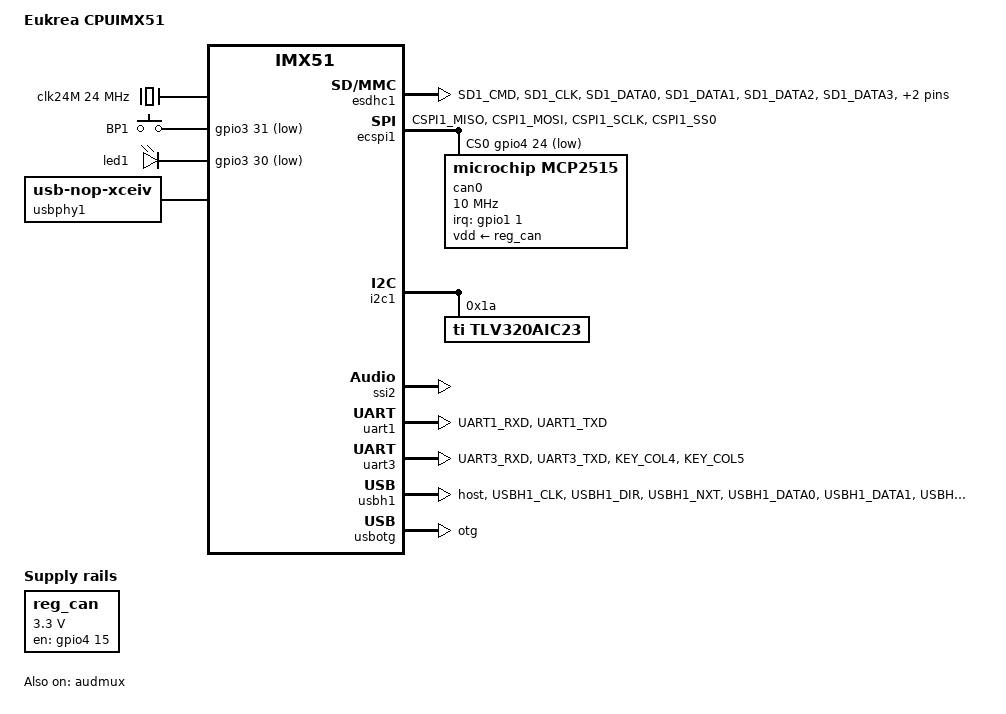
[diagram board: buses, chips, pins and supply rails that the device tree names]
// SPDX-License-Identifier: GPL-2.0-or-later
/*
 * Copyright 2013 Eukréa Electromatique <denis@eukrea.com>
 */

/dts-v1/;
#include "imx51-eukrea-cpuimx51.dtsi"
#include <dt-bindings/gpio/gpio.h>

/ {
	model = "Eukrea CPUIMX51";
	compatible = "eukrea,mbimxsd51","eukrea,cpuimx51", "fsl,imx51";

	clocks {
		clk24M: can_clock {
			compatible = "fixed-clock";
			#clock-cells = <0>;
			clock-frequency = <24000000>;
		};
	};

	gpio_keys {
		compatible = "gpio-keys";
		pinctrl-names = "default";
		pinctrl-0 = <&pinctrl_gpiokeys_1>;

		button-1 {
			label = "BP1";
			gpios = <&gpio3 31 GPIO_ACTIVE_LOW>;
			linux,code = <256>;
			wakeup-source;
			linux,input-type = <1>;
		};
	};

	leds {
		compatible = "gpio-leds";
		pinctrl-names = "default";
		pinctrl-0 = <&pinctrl_gpioled>;

		led1 {
			label = "led1";
			gpios = <&gpio3 30 GPIO_ACTIVE_LOW>;
			linux,default-trigger = "heartbeat";
		};
	};

	reg_can: regulator-can {
		compatible = "regulator-fixed";
		regulator-name = "CAN_RST";
		regulator-min-microvolt = <3300000>;
		regulator-max-microvolt = <3300000>;
		gpio = <&gpio4 15 GPIO_ACTIVE_HIGH>;
		startup-delay-us = <20000>;
		enable-active-high;
	};

	sound {
		compatible = "eukrea,asoc-tlv320";
		eukrea,model = "imx51-eukrea-tlv320aic23";
		ssi-controller = <&ssi2>;
		fsl,mux-int-port = <2>;
		fsl,mux-ext-port = <3>;
	};

	usbphy1: usbphy1 {
		compatible = "usb-nop-xceiv";
		clocks = <&clks IMX5_CLK_USB_PHY_GATE>;
		clock-names = "main_clk";
		clock-frequency = <19200000>;
		#phy-cells = <0>;
	};
};

&audmux {
	pinctrl-names = "default";
	pinctrl-0 = <&pinctrl_audmux>;
	status = "okay";
};

&esdhc1 {
	pinctrl-names = "default";
	pinctrl-0 = <&pinctrl_esdhc1 &pinctrl_esdhc1_cd>;
	cd-gpios = <&gpio1 0 GPIO_ACTIVE_LOW>;
	status = "okay";
};

&ecspi1 {
	pinctrl-names = "default";
	pinctrl-0 = <&pinctrl_ecspi1>;
	cs-gpios = <&gpio4 24 GPIO_ACTIVE_LOW>;
	status = "okay";

	can0: can@0 {
		pinctrl-names = "default";
		pinctrl-0 = <&pinctrl_can>;
		compatible = "microchip,mcp2515";
		reg = <0>;
		clocks = <&clk24M>;
		spi-max-frequency = <10000000>;
		interrupt-parent = <&gpio1>;
		interrupts = <1 IRQ_TYPE_EDGE_FALLING>;
		vdd-supply = <&reg_can>;
	};
};

&i2c1 {
	tlv320aic23: codec@1a {
		compatible = "ti,tlv320aic23";
		reg = <0x1a>;
	};
};

&iomuxc {
	imx51-eukrea {
		pinctrl_audmux: audmuxgrp {
			fsl,pins = <
				MX51_PAD_AUD3_BB_TXD__AUD3_TXD		0x80000000
				MX51_PAD_AUD3_BB_RXD__AUD3_RXD		0x80000000
				MX51_PAD_AUD3_BB_CK__AUD3_TXC		0x80000000
				MX51_PAD_AUD3_BB_FS__AUD3_TXFS		0x80000000
			>;
		};


		pinctrl_can: cangrp {
			fsl,pins = <
				MX51_PAD_CSI2_PIXCLK__GPIO4_15		0x80000000	/* nReset */
				MX51_PAD_GPIO1_1__GPIO1_1		0x80000000	/* IRQ */
			>;
		};

		pinctrl_ecspi1: ecspi1grp {
			fsl,pins = <
				MX51_PAD_CSPI1_MISO__ECSPI1_MISO	0x185
				MX51_PAD_CSPI1_MOSI__ECSPI1_MOSI	0x185
				MX51_PAD_CSPI1_SCLK__ECSPI1_SCLK	0x185
				MX51_PAD_CSPI1_SS0__GPIO4_24		0x80000000 	/* CS0 */
			>;
		};

		pinctrl_esdhc1: esdhc1grp {
			fsl,pins = <
				MX51_PAD_SD1_CMD__SD1_CMD		0x400020d5
				MX51_PAD_SD1_CLK__SD1_CLK		0x20d5
				MX51_PAD_SD1_DATA0__SD1_DATA0		0x20d5
				MX51_PAD_SD1_DATA1__SD1_DATA1		0x20d5
				MX51_PAD_SD1_DATA2__SD1_DATA2		0x20d5
				MX51_PAD_SD1_DATA3__SD1_DATA3		0x20d5
			>;
		};

		pinctrl_uart1: uart1grp {
			fsl,pins = <
				MX51_PAD_UART1_RXD__UART1_RXD		0x1c5
				MX51_PAD_UART1_TXD__UART1_TXD		0x1c5
			>;
		};

		pinctrl_uart3: uart3grp {
			fsl,pins = <
				MX51_PAD_UART3_RXD__UART3_RXD		0x1c5
				MX51_PAD_UART3_TXD__UART3_TXD		0x1c5
			>;
		};

		pinctrl_uart3_rtscts: uart3rtsctsgrp {
			fsl,pins = <
				MX51_PAD_KEY_COL4__UART3_RTS		0x1c5
				MX51_PAD_KEY_COL5__UART3_CTS		0x1c5
			>;
		};

		pinctrl_backlight_1: backlightgrp-1 {
			fsl,pins = <
				MX51_PAD_DI1_D1_CS__GPIO3_4 0x1f5
			>;
		};

		pinctrl_esdhc1_cd: esdhc1_cd {
			fsl,pins = <
				MX51_PAD_GPIO1_0__GPIO1_0 0xd5
			>;
		};

		pinctrl_gpiokeys_1: gpiokeysgrp-1 {
			fsl,pins = <
				MX51_PAD_NANDF_D9__GPIO3_31 0x1f5
			>;
		};

		pinctrl_gpioled: gpioledgrp-1 {
			fsl,pins = <
				MX51_PAD_NANDF_D10__GPIO3_30 0x80000000
			>;
		};

		pinctrl_reg_lcd_3v3: reg_lcd_3v3 {
			fsl,pins = <
				MX51_PAD_CSI1_D9__GPIO3_13 0x1f5
			>;
		};

		pinctrl_usbh1: usbh1grp {
			fsl,pins = <
				MX51_PAD_USBH1_CLK__USBH1_CLK     0x1e5
				MX51_PAD_USBH1_DIR__USBH1_DIR     0x1e5
				MX51_PAD_USBH1_NXT__USBH1_NXT     0x1e5
				MX51_PAD_USBH1_DATA0__USBH1_DATA0 0x1e5
				MX51_PAD_USBH1_DATA1__USBH1_DATA1 0x1e5
				MX51_PAD_USBH1_DATA2__USBH1_DATA2 0x1e5
				MX51_PAD_USBH1_DATA3__USBH1_DATA3 0x1e5
				MX51_PAD_USBH1_DATA4__USBH1_DATA4 0x1e5
				MX51_PAD_USBH1_DATA5__USBH1_DATA5 0x1e5
				MX51_PAD_USBH1_DATA6__USBH1_DATA6 0x1e5
				MX51_PAD_USBH1_DATA7__USBH1_DATA7 0x1e5
				MX51_PAD_USBH1_STP__USBH1_STP     0x1e5
			>;
		};

		pinctrl_usbh1_vbus: usbh1-vbusgrp {
			fsl,pins = <
				MX51_PAD_EIM_CS3__GPIO2_28 0x1f5
			>;
		};
	};
};

&ssi2 {
	codec-handle = <&tlv320aic23>;
	status = "okay";
};

&uart1 {
	pinctrl-names = "default";
	pinctrl-0 = <&pinctrl_uart1>;
	uart-has-rtscts;
	status = "okay";
};

&uart3 {
	pinctrl-names = "default";
	pinctrl-0 = <&pinctrl_uart3 &pinctrl_uart3_rtscts>;
	uart-has-rtscts;
	status = "okay";
};

&usbh1 {
	pinctrl-names = "default";
	pinctrl-0 = <&pinctrl_usbh1>;
	fsl,usbphy = <&usbphy1>;
	dr_mode = "host";
	phy_type = "ulpi";
	status = "okay";
};

&usbotg {
	dr_mode = "otg";
	phy_type = "utmi_wide";
	status = "okay";
};

&usbphy0 {
	pinctrl-names = "default";
	pinctrl-0 = <&pinctrl_usbh1_vbus>;
	reset-gpios = <&gpio2 28 GPIO_ACTIVE_LOW>;
};
